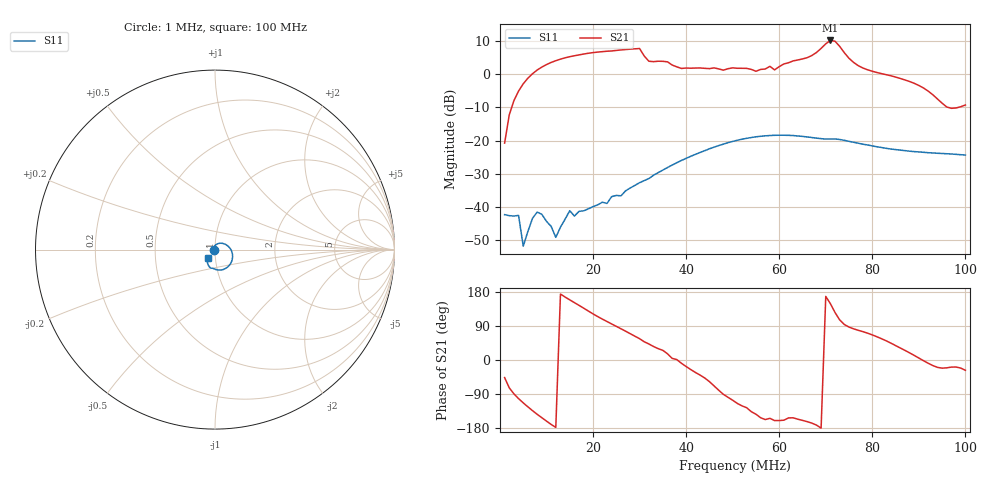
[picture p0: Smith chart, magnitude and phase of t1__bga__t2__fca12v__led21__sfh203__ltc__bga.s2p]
# HZ S RI R 50
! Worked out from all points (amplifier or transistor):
!   100 points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, 1 MHz to 100 MHz, reference 50 ohm
!   highest |S21| = 10.1 dB at 71 MHz (marker M1)
!   |S21| within 3 dB of that: 24.98 MHz to 30.25 MHz (5.279 MHz wide, 19.1 % of centre)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
1000001  -0.00772 -8.37e-05  0.0631 -0.0664  0 0  0 0
4000001  -0.00735 0.00162  -0.115 -0.5429  0 0  0 0
5000001  0.00169 -0.00197  -0.2798 -0.6551  0 0  0 0
8000001  -0.00453 0.00712  -0.9217 -0.6842  0 0  0 0
1.3e7  -0.00498 0.000511  -1.663 0.1735  0 0  0 0
1.8e7  -0.00653 0.00591  -1.454 1.369  0 0  0 0
2.7e7  -0.00325 0.0173  0.566 2.262  0 0  0 0
3e7  0.0012 0.0233  1.343 2.006  0 0  0 0
3.2e7  0.00348 0.0267  1.15 1.046  0 0  0 0
3.4e7  0.0116 0.0309  1.348 0.7768  0 0  0 0
4.6e7  0.0785 0.0135  0.456 -1.149  0 0  0 0
5.1e7  0.0975 -0.0272  -0.507 -1.108  0 0  0 0
5.7e7  0.0826 -0.084  -1.097 -0.4603  0 0  0 0
6.7e7  0.00523 -0.1111  -1.841 -0.4409  0 0  0 0
6.9e7  -0.00576 -0.1068  -2.424 -0.0127  0 0  0 0
7.1e7  -0.0139 -0.1044  -2.721 1.667  0 0  0 0
7.2e7  -0.0199 -0.1038  -1.788 2.54  0 0  0 0
7.4e7  -0.0318 -0.0957  -0.1307 2.079  0 0  0 0
7.7e7  -0.0392 -0.0824  0.2692 1.305  0 0  0 0
8.4e7  -0.0418 -0.0619  0.6719 0.6583  0 0  0 0
9.2e7  -0.041 -0.0514  0.5474 -0.082  0 0  0 0
1e8  -0.0417 -0.0441  0.3049 -0.1562  0 0  0 0
